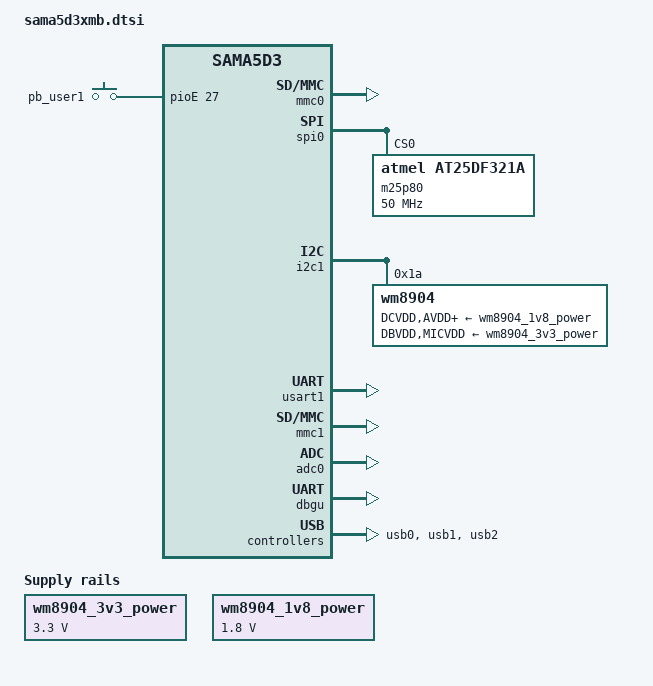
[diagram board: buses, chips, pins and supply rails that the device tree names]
/*
 * sama5d3xmb.dts - Device Tree file for SAMA5D3x mother board
 *
 *  Copyright (C) 2013 Atmel,
 *                2013 Ludovic Desroches <ludovic.desroches@atmel.com>
 *
 * Licensed under GPLv2 or later.
 */
#include "sama5d3xcm.dtsi"

/ {
	compatible = "atmel,sama5d3xmb", "atmel,sama5d3xcm", "atmel,sama5d3", "atmel,sama5";

	ahb {
		apb {
			mmc0: mmc@f0000000 {
				pinctrl-names = "default", "sleep";
				pinctrl-0 = <&pinctrl_mmc0_clk_cmd_dat0 &pinctrl_mmc0_dat1_3 &pinctrl_mmc0_cd>;
				pinctrl-1 = <&pinctrl_mmc0_clk_cmd_dat0_sleep &pinctrl_mmc0_dat1_3_sleep &pinctrl_mmc0_dat4_7_sleep>;
				status = "okay";
				slot@0 {
					reg = <0>;
					bus-width = <4>;
					cd-gpios = <&pioD 17 GPIO_ACTIVE_HIGH>;
				};
			};

			can0: can@f000c000 {
				pinctrl-names = "default", "sleep";
				pinctrl-1 = <&pinctrl_can0_rx_tx_sleep>;
			};

			can1: can@f8010000 {
				pinctrl-names = "default", "sleep";
				pinctrl-1 = <&pinctrl_can1_rx_tx_sleep>;
			};

			spi0: spi@f0004000 {
				pinctrl-names = "default", "sleep";
				pinctrl-1 = <&pinctrl_spi0_sleep>;
				m25p80@0 {
					compatible = "atmel,at25df321a";
					spi-max-frequency = <50000000>;
					reg = <0>;
				};
			};

			ssc0: ssc@f0008000 {
				pinctrl-names = "default", "sleep";
				pinctrl-1 = <&pinctrl_ssc0_tx_sleep &pinctrl_ssc0_rx_sleep>;
			};

			i2c1: i2c@f0018000 {
				wm8904: wm8904@1a {
					compatible = "wm8904";
					reg = <0x1a>;

					DCVDD-supply = <&wm8904_1v8_power>;
					DBVDD-supply = <&wm8904_3v3_power>;
					AVDD-supply = <&wm8904_1v8_power>;
					CPVDD-supply = <&wm8904_1v8_power>;
					MICVDD-supply = <&wm8904_3v3_power>;
				};
			};

			usart1: serial@f0020000 {
				pinctrl-names = "default", "sleep";
				pinctrl-0 = <&pinctrl_usart1 &pinctrl_usart1_rts_cts>;
				pinctrl-1 = <&pinctrl_usart1_sleep &pinctrl_usart1_rts_cts_sleep>;
				status = "okay";
			};

			isi: isi@f0034000 {
				pinctrl-names = "default", "sleep";
				pinctrl-0 = <&pinctrl_isi &pinctrl_isi_pck_as_mck &pinctrl_isi_power &pinctrl_isi_reset>;
				pinctrl-1 = <&pinctrl_isi_sleep &pinctrl_isi_pck_as_mck_sleep &pinctrl_isi_power_sleep &pinctrl_isi_reset_sleep>;
			};

			mmc1: mmc@f8000000 {
				pinctrl-names = "default", "sleep";
				pinctrl-0 = <&pinctrl_mmc1_clk_cmd_dat0 &pinctrl_mmc1_dat1_3 &pinctrl_mmc1_cd>;
				pinctrl-1 = <&pinctrl_mmc1_clk_cmd_dat0_sleep &pinctrl_mmc1_dat1_3_sleep>;
				status = "okay";
				slot@0 {
					reg = <0>;
					bus-width = <4>;
					cd-gpios = <&pioD 18 GPIO_ACTIVE_HIGH>;
				};
			};

			adc0: adc@f8018000 {
				pinctrl-names = "default", "sleep";
				pinctrl-0 = <
					&pinctrl_adc0_adtrg
					&pinctrl_adc0_ad0
					&pinctrl_adc0_ad1
					&pinctrl_adc0_ad2
					&pinctrl_adc0_ad3
					&pinctrl_adc0_ad4
					>;
				pinctrl-1 = <
					&pinctrl_adc0_adtrg_sleep
					&pinctrl_adc0_ad0_sleep
					&pinctrl_adc0_ad1_sleep
					&pinctrl_adc0_ad2_sleep
					&pinctrl_adc0_ad3_sleep
					&pinctrl_adc0_ad4_sleep
					>;
				status = "okay";
			};

			lcd_bus@f0030000 {
				pinctrl-names = "default", "sleep";
				pinctrl-1 = <&pinctrl_lcd_sleep>;
			};

			macb0: ethernet@f0028000 {
				pinctrl-names = "default", "sleep";
				pinctrl-1 = <&pinctrl_macb0_data_rgmii_sleep &pinctrl_macb0_signal_rgmii_sleep>;
			};

			macb1: ethernet@f802c000 {
				phy-mode = "rmii";
				pinctrl-names = "default", "sleep";
				pinctrl-1 = <&pinctrl_macb1_rmii_sleep>;
			};

			pinctrl@fffff200 {
				/* shared pinctrl settings */
				adc0 {
					pinctrl_adc0_adtrg_sleep: adc0_adtrg_1 {
						atmel,pins =
							<AT91_PIOD 19 AT91_PERIPH_GPIO AT91_PINCTRL_OUTPUT0>;	/* PD19 GPIO output 0 */
					};
					pinctrl_adc0_ad0_sleep: adc0_ad0_1 {
						atmel,pins =
							<AT91_PIOD 20 AT91_PERIPH_GPIO AT91_PINCTRL_OUTPUT0>;	/* PD20 GPIO output 0 */
					};
					pinctrl_adc0_ad1_sleep: adc0_ad1_1 {
						atmel,pins =
							<AT91_PIOD 21 AT91_PERIPH_GPIO AT91_PINCTRL_OUTPUT0>;	/* PD21 GPIO output 0 */
					};
					pinctrl_adc0_ad2_sleep: adc0_ad2_1 {
						atmel,pins =
							<AT91_PIOD 22 AT91_PERIPH_GPIO AT91_PINCTRL_OUTPUT0>;	/* PD22 GPIO output 0 */
					};
					pinctrl_adc0_ad3_sleep: adc0_ad3_1 {
						atmel,pins =
							<AT91_PIOD 23 AT91_PERIPH_GPIO AT91_PINCTRL_OUTPUT0>;	/* PD23 GPIO output 0 */
					};
					pinctrl_adc0_ad4_sleep: adc0_ad4_1 {
						atmel,pins =
							<AT91_PIOD 24 AT91_PERIPH_GPIO AT91_PINCTRL_OUTPUT0>;	/* PD24 GPIO output 0 */
					};
				};

				can0 {
					pinctrl_can0_rx_tx_sleep: can0_rx_tx-1 {
						atmel,pins =
							<AT91_PIOD 14 AT91_PERIPH_GPIO AT91_PINCTRL_OUTPUT0	/* PD14 GPIO output 0 */
							 AT91_PIOD 15 AT91_PERIPH_GPIO AT91_PINCTRL_OUTPUT0>;	/* PD15 GPIO output 0 */
					};
				};

				can1 {
					pinctrl_can1_rx_tx_sleep: can1_rx_tx-1 {
						atmel,pins =
							<AT91_PIOB 14 AT91_PERIPH_GPIO AT91_PINCTRL_OUTPUT0	/* PB14 GPIO output 0 */
							 AT91_PIOB 15 AT91_PERIPH_GPIO AT91_PINCTRL_OUTPUT0>;	/* PB15 GPIO output 0 */
					};
				};

				mmc0 {
					pinctrl_mmc0_clk_cmd_dat0_sleep: mmc0_clk_cmd_dat0_1 {
						atmel,pins =
							<AT91_PIOD 9 AT91_PERIPH_GPIO AT91_PINCTRL_OUTPUT0	/* PD9 GPIO output 0 */
							 AT91_PIOD 0 AT91_PERIPH_GPIO AT91_PINCTRL_PULL_UP	/* PD0 GPIO Input with pullup */
							 AT91_PIOD 1 AT91_PERIPH_GPIO AT91_PINCTRL_PULL_UP>;	/* PD1 GPIO Input with pullup */
					};
					pinctrl_mmc0_dat1_3_sleep: mmc0_dat1_3_1 {
						atmel,pins =
							<AT91_PIOD 2 AT91_PERIPH_GPIO AT91_PINCTRL_PULL_UP	/* PD2 GPIO Input with pullup */
							 AT91_PIOD 3 AT91_PERIPH_GPIO AT91_PINCTRL_PULL_UP	/* PD3 GPIO Input with pullup */
							 AT91_PIOD 4 AT91_PERIPH_GPIO AT91_PINCTRL_PULL_UP>;	/* PD4 GPIO Input with pullup */
					};
					pinctrl_mmc0_dat4_7_sleep: mmc0_dat4_7_1 {
						atmel,pins =
							<AT91_PIOD 5 AT91_PERIPH_GPIO AT91_PINCTRL_PULL_UP	/* PD5 GPIO Input with pullup */
							 AT91_PIOD 6 AT91_PERIPH_GPIO AT91_PINCTRL_PULL_UP	/* PD6 GPIO Input with pullup */
							 AT91_PIOD 7 AT91_PERIPH_GPIO AT91_PINCTRL_PULL_UP	/* PD7 GPIO Input with pullup */
							 AT91_PIOD 8 AT91_PERIPH_GPIO AT91_PINCTRL_PULL_UP>;	/* PD8 GPIO Input with pullup */
					};
				};

				mmc1 {
					pinctrl_mmc1_clk_cmd_dat0_sleep: mmc1_clk_cmd_dat0_1 {
						atmel,pins =
							<AT91_PIOB 24 AT91_PERIPH_GPIO AT91_PINCTRL_OUTPUT0	/* PB24 GPIO output 0 */
							 AT91_PIOB 19 AT91_PERIPH_GPIO AT91_PINCTRL_PULL_UP	/* PB19 GPIO Input with pullup */
							 AT91_PIOB 20 AT91_PERIPH_GPIO AT91_PINCTRL_PULL_UP>;	/* PB20 GPIO Input with pullup */
					};
					pinctrl_mmc1_dat1_3_sleep: mmc1_dat1_3_1 {
						atmel,pins =
							<AT91_PIOB 21 AT91_PERIPH_GPIO AT91_PINCTRL_PULL_UP	/* PB21 GPIO Input with pullup */
							 AT91_PIOB 22 AT91_PERIPH_GPIO AT91_PINCTRL_PULL_UP	/* PB22 GPIO Input with pullup */
							 AT91_PIOB 23 AT91_PERIPH_GPIO AT91_PINCTRL_PULL_UP>;	/* PB23 GPIO Input with pullup */
					};
				};

				i2c0 {
					pinctrl_i2c0_sleep: i2c0-1 {
						atmel,pins =
							<AT91_PIOA 30 AT91_PERIPH_GPIO AT91_PINCTRL_OUTPUT1	/* PA30 GPIO output 1 */
							 AT91_PIOA 31 AT91_PERIPH_GPIO AT91_PINCTRL_OUTPUT1>;	/* PA31 GPIO output 1 */
					};
				};

				spi0 {
					pinctrl_spi0_sleep: spi0-1 {
						atmel,pins =
							<AT91_PIOD 10 AT91_PERIPH_GPIO AT91_PINCTRL_OUTPUT0	/* PD10 GPIO output 0 */
							 AT91_PIOD 11 AT91_PERIPH_GPIO AT91_PINCTRL_OUTPUT0	/* PD11 GPIO output 0 */
							 AT91_PIOD 12 AT91_PERIPH_GPIO AT91_PINCTRL_OUTPUT0>;	/* PD12 GPIO output 0 */
					};
				};

				ssc0 {
					pinctrl_ssc0_tx_sleep: ssc0_tx-1 {
						atmel,pins =
							<AT91_PIOC 16 AT91_PERIPH_GPIO AT91_PINCTRL_OUTPUT0	/* PC16 GPIO output 0 */
							 AT91_PIOC 17 AT91_PERIPH_GPIO AT91_PINCTRL_OUTPUT0	/* PC17 GPIO output 0 */
							 AT91_PIOC 18 AT91_PERIPH_GPIO AT91_PINCTRL_OUTPUT0>;	/* PC18 GPIO output 0 */
					};

					pinctrl_ssc0_rx_sleep: ssc0_rx-1 {
						atmel,pins =
							<AT91_PIOC 19 AT91_PERIPH_GPIO AT91_PINCTRL_NONE	/* PC19 GPIO Input */
							 AT91_PIOC 20 AT91_PERIPH_GPIO AT91_PINCTRL_NONE	/* PC20 GPIO Input */
							 AT91_PIOC 21 AT91_PERIPH_GPIO AT91_PINCTRL_NONE>;	/* PC21 GPIO Input */
					};
				};

				isi {
					pinctrl_isi_sleep: isi-1 {
						atmel,pins =
							<AT91_PIOA 16 AT91_PERIPH_GPIO AT91_PINCTRL_PULL_UP	/* PA16 GPIO Input with pullup */
							 AT91_PIOA 17 AT91_PERIPH_GPIO AT91_PINCTRL_PULL_UP	/* PA17 GPIO Input with pullup */
							 AT91_PIOA 18 AT91_PERIPH_GPIO AT91_PINCTRL_PULL_UP	/* PA18 GPIO Input with pullup */
							 AT91_PIOA 19 AT91_PERIPH_GPIO AT91_PINCTRL_PULL_UP	/* PA19 GPIO Input with pullup */
							 AT91_PIOA 20 AT91_PERIPH_GPIO AT91_PINCTRL_PULL_UP	/* PA20 GPIO Input with pullup */
							 AT91_PIOA 21 AT91_PERIPH_GPIO AT91_PINCTRL_PULL_UP	/* PA21 GPIO Input with pullup */
							 AT91_PIOA 22 AT91_PERIPH_GPIO AT91_PINCTRL_PULL_UP	/* PA22 GPIO Input with pullup */
							 AT91_PIOA 23 AT91_PERIPH_GPIO AT91_PINCTRL_PULL_UP	/* PA23 GPIO Input with pullup */
							 AT91_PIOC 30 AT91_PERIPH_GPIO AT91_PINCTRL_OUTPUT0	/* PC30 GPIO output 0 */
							 AT91_PIOA 31 AT91_PERIPH_GPIO AT91_PINCTRL_OUTPUT1	/* PA31 GPIO output 1 */
							 AT91_PIOA 30 AT91_PERIPH_GPIO AT91_PINCTRL_OUTPUT1	/* PA30 GPIO output 1 */
							 AT91_PIOC 29 AT91_PERIPH_GPIO AT91_PINCTRL_NONE	/* PC29 GPIO Input */
							 AT91_PIOC 28 AT91_PERIPH_GPIO AT91_PINCTRL_OUTPUT0>;	/* PC28 GPIO output 0 */
					};
					pinctrl_isi_pck_as_mck_sleep: isi_pck_as_mck-1 {
						atmel,pins =
							<AT91_PIOD 31 AT91_PERIPH_GPIO AT91_PINCTRL_OUTPUT0>;	/* PD31 periph B ISI_MCK */
					};
				};

				usart1 {
					pinctrl_usart1_sleep: usart1-1 {
						atmel,pins =
							<AT91_PIOB 28 AT91_PERIPH_GPIO AT91_PINCTRL_OUTPUT0	/* PB28 GPIO output 0 */
							 AT91_PIOB 29 AT91_PERIPH_GPIO AT91_PINCTRL_OUTPUT0>;	/* PB29 GPIO output 0 */
					};

					pinctrl_usart1_rts_cts_sleep: usart1_rts_cts-1 {
						atmel,pins =
							<AT91_PIOB 26 AT91_PERIPH_GPIO AT91_PINCTRL_OUTPUT0	/* PB26 GPIO output 0 */
							 AT91_PIOB 27 AT91_PERIPH_GPIO AT91_PINCTRL_OUTPUT0>;	/* PB27 GPIO output 0 */
					};
				};

				lcd {
					pinctrl_lcd_sleep: lcd-1 {
						atmel,pins =
							<AT91_PIOA 24 AT91_PERIPH_GPIO AT91_PINCTRL_OUTPUT0	/* PA24 GPIO output 0 */
							 AT91_PIOA 26 AT91_PERIPH_GPIO AT91_PINCTRL_OUTPUT0	/* PA26 GPIO output 0 */
							 AT91_PIOA 27 AT91_PERIPH_GPIO AT91_PINCTRL_OUTPUT0	/* PA27 GPIO output 0 */
							 AT91_PIOA 25 AT91_PERIPH_GPIO AT91_PINCTRL_OUTPUT0	/* PA25 GPIO output 0 */
							 AT91_PIOA 29 AT91_PERIPH_GPIO AT91_PINCTRL_OUTPUT0	/* PA29 GPIO output 0*/
							 AT91_PIOA 28 AT91_PERIPH_GPIO AT91_PINCTRL_OUTPUT0	/* PA28 GPIO output 0 */
							 AT91_PIOA 0 AT91_PERIPH_GPIO AT91_PINCTRL_OUTPUT0	/* PA0 GPIO output 0 */
							 AT91_PIOA 1 AT91_PERIPH_GPIO AT91_PINCTRL_OUTPUT0	/* PA1 GPIO output 0 */
							 AT91_PIOA 2 AT91_PERIPH_GPIO AT91_PINCTRL_OUTPUT0	/* PA2 GPIO output 0 */
							 AT91_PIOA 3 AT91_PERIPH_GPIO AT91_PINCTRL_OUTPUT0	/* PA3 GPIO output 0 */
							 AT91_PIOA 4 AT91_PERIPH_GPIO AT91_PINCTRL_OUTPUT0	/* PA4 GPIO output 0 */
							 AT91_PIOA 5 AT91_PERIPH_GPIO AT91_PINCTRL_OUTPUT0	/* PA5 GPIO output 0 */
							 AT91_PIOA 6 AT91_PERIPH_GPIO AT91_PINCTRL_OUTPUT0	/* PA6 GPIO output 0 */
							 AT91_PIOA 7 AT91_PERIPH_GPIO AT91_PINCTRL_OUTPUT0	/* PA7 GPIO output 0 */
							 AT91_PIOA 8 AT91_PERIPH_GPIO AT91_PINCTRL_OUTPUT0	/* PA8 GPIO output 0 */
							 AT91_PIOA 9 AT91_PERIPH_GPIO AT91_PINCTRL_OUTPUT0	/* PA9 GPIO output 0 */
							 AT91_PIOA 10 AT91_PERIPH_GPIO AT91_PINCTRL_OUTPUT0	/* PA10 GPIO output 0 */
							 AT91_PIOA 11 AT91_PERIPH_GPIO AT91_PINCTRL_OUTPUT0	/* PA11 GPIO output 0 */
							 AT91_PIOA 12 AT91_PERIPH_GPIO AT91_PINCTRL_OUTPUT0	/* PA12 GPIO output 0 */
							 AT91_PIOA 13 AT91_PERIPH_GPIO AT91_PINCTRL_OUTPUT0	/* PA13 GPIO output 0 */
							 AT91_PIOA 14 AT91_PERIPH_GPIO AT91_PINCTRL_OUTPUT0	/* PA14 GPIO output 0 */
							 AT91_PIOA 15 AT91_PERIPH_GPIO AT91_PINCTRL_OUTPUT0	/* PA15 GPIO output 0 */
							 AT91_PIOC 14 AT91_PERIPH_GPIO AT91_PINCTRL_OUTPUT0	/* PC14 GPIO output 0 */
							 AT91_PIOC 13 AT91_PERIPH_GPIO AT91_PINCTRL_OUTPUT0	/* PC13 GPIO output 0 */
							 AT91_PIOC 12 AT91_PERIPH_GPIO AT91_PINCTRL_OUTPUT0	/* PC12 GPIO output 0 */
							 AT91_PIOC 11 AT91_PERIPH_GPIO AT91_PINCTRL_OUTPUT0	/* PC11 GPIO output 0 */
							 AT91_PIOC 10 AT91_PERIPH_GPIO AT91_PINCTRL_OUTPUT0	/* PC10 GPIO output 0 */
							 AT91_PIOC 15 AT91_PERIPH_GPIO AT91_PINCTRL_OUTPUT0	/* PC15 GPIO output 0 */
							 AT91_PIOE 28 AT91_PERIPH_GPIO AT91_PINCTRL_OUTPUT0>;	/* PE28 PIO output 0 */
					};
				};

				macb0 {
					pinctrl_macb0_data_rgmii_sleep: macb0_data_rgmii_1 {
						atmel,pins =
							<AT91_PIOB 0 AT91_PERIPH_GPIO AT91_PINCTRL_OUTPUT0	/* PB0 GPIO output 0 */
							 AT91_PIOB 1 AT91_PERIPH_GPIO AT91_PINCTRL_OUTPUT0	/* PB1 GPIO output 0 */
							 AT91_PIOB 2 AT91_PERIPH_GPIO AT91_PINCTRL_OUTPUT0	/* PB2 GPIO output 0 */
							 AT91_PIOB 3 AT91_PERIPH_GPIO AT91_PINCTRL_OUTPUT0	/* PB3 GPIO output 0 */
							 AT91_PIOB 4 AT91_PERIPH_GPIO AT91_PINCTRL_NONE		/* PB4 GPIO input default */
							 AT91_PIOB 5 AT91_PERIPH_GPIO AT91_PINCTRL_NONE		/* PB5 GPIO input default */
							 AT91_PIOB 6 AT91_PERIPH_GPIO AT91_PINCTRL_NONE		/* PB6 GPIO input default */
							 AT91_PIOB 7 AT91_PERIPH_GPIO AT91_PINCTRL_NONE>;	/* PB7 GPIO input default */
					};

					pinctrl_macb0_signal_rgmii_sleep: macb0_signal_rgmii_1 {
						atmel,pins =
							<AT91_PIOB 8 AT91_PERIPH_GPIO AT91_PINCTRL_OUTPUT0	/* PB8 GPIO output 0 */
							 AT91_PIOB 9 AT91_PERIPH_GPIO AT91_PINCTRL_OUTPUT0	/* PB9 GPIO output 0 */
							 AT91_PIOB 11 AT91_PERIPH_GPIO AT91_PINCTRL_NONE	/* PB11 GPIO input default */
							 AT91_PIOB 13 AT91_PERIPH_GPIO AT91_PINCTRL_NONE	/* PB13 GPIO input default */
							 AT91_PIOB 16 AT91_PERIPH_GPIO AT91_PINCTRL_OUTPUT0	/* PB16 GPIO output 0 */
							 AT91_PIOB 17 AT91_PERIPH_GPIO AT91_PINCTRL_OUTPUT0	/* PB17 GPIO output 0 */
							 AT91_PIOB 18 AT91_PERIPH_GPIO AT91_PINCTRL_OUTPUT0>;	/* PB18 GPIO output 0 */
					};
				};

				macb1 {
					pinctrl_macb1_rmii_sleep: macb1_rmii-1 {
						atmel,pins =
							<AT91_PIOC 0 AT91_PERIPH_GPIO AT91_PINCTRL_OUTPUT0	/* PC0 GPIO output 0 */
							 AT91_PIOC 1 AT91_PERIPH_GPIO AT91_PINCTRL_OUTPUT0	/* PC1 GPIO output 0 */
							 AT91_PIOC 2 AT91_PERIPH_GPIO AT91_PINCTRL_NONE		/* PC2 GPIO input default */
							 AT91_PIOC 3 AT91_PERIPH_GPIO AT91_PINCTRL_NONE		/* PC3 GPIO input default */
							 AT91_PIOC 4 AT91_PERIPH_GPIO AT91_PINCTRL_OUTPUT0	/* PC4 GPIO output 0 */
							 AT91_PIOC 5 AT91_PERIPH_GPIO AT91_PINCTRL_NONE		/* PC5 GPIO input default */
							 AT91_PIOC 6 AT91_PERIPH_GPIO AT91_PINCTRL_NONE		/* PC6 GPIO input default */
							 AT91_PIOC 7 AT91_PERIPH_GPIO AT91_PINCTRL_NONE		/* PC7 GPIO input default */
							 AT91_PIOC 8 AT91_PERIPH_GPIO AT91_PINCTRL_OUTPUT1	/* PC8 GPIO output 1 */
							 AT91_PIOC 9 AT91_PERIPH_GPIO AT91_PINCTRL_OUTPUT1>;	/* PC9 GPIO output 1 */
					};
				};

				board {
					pinctrl_mmc0_cd: mmc0_cd {
						atmel,pins =
							<AT91_PIOD 17 AT91_PERIPH_GPIO AT91_PINCTRL_PULL_UP_DEGLITCH>; /* PD17 GPIO with pullup deglitch */
					};

					pinctrl_mmc1_cd: mmc1_cd {
						atmel,pins =
							<AT91_PIOD 18 AT91_PERIPH_GPIO AT91_PINCTRL_PULL_UP_DEGLITCH>; /* PD18 GPIO with pullup deglitch */
					};

					pinctrl_pck0_as_audio_mck: pck0_as_audio_mck {
						atmel,pins =
							<AT91_PIOD 30 AT91_PERIPH_B AT91_PINCTRL_NONE>;	/* PD30 periph B */
					};

					pinctrl_isi_reset: isi_reset-0 {
						atmel,pins =
							<AT91_PIOE 24 AT91_PERIPH_GPIO AT91_PINCTRL_NONE>;   /* PE24 gpio */
					};

					pinctrl_isi_reset_sleep: isi_reset-1 {
						atmel,pins =
							<AT91_PIOE 24 AT91_PERIPH_GPIO AT91_PINCTRL_OUTPUT1>;   /* PE24 GPIO output 1 */
					};

					pinctrl_isi_power: isi_power-0 {
						atmel,pins =
							<AT91_PIOE 29 AT91_PERIPH_GPIO AT91_PINCTRL_NONE>; /* PE29 gpio */
					};

					pinctrl_isi_power_sleep: isi_power-1 {
						atmel,pins =
							<AT91_PIOE 29 AT91_PERIPH_GPIO AT91_PINCTRL_OUTPUT1>; /* PE29 GPIO output 1 */
					};

					pinctrl_usba_vbus: usba_vbus {
						atmel,pins =
							<AT91_PIOD 29 AT91_PERIPH_GPIO AT91_PINCTRL_DEGLITCH>; /* PD29 GPIO with deglitch */
					};
				};
			};

			dbgu: serial@ffffee00 {
				status = "okay";
			};

			watchdog@fffffe40 {
				status = "okay";
			};
		};

		usb0: gadget@00500000 {
			atmel,vbus-gpio = <&pioD 29 GPIO_ACTIVE_HIGH>;
			pinctrl-names = "default";
			pinctrl-0 = <&pinctrl_usba_vbus>;
			status = "okay";
		};

		usb1: ohci@00600000 {
			num-ports = <3>;
			atmel,vbus-gpio = <&pioD 25 GPIO_ACTIVE_HIGH
					   &pioD 26 GPIO_ACTIVE_LOW
					   &pioD 27 GPIO_ACTIVE_LOW
					  >;
			status = "okay";
		};

		usb2: ehci@00700000 {
			status = "okay";
		};
	};

	sound {
		compatible = "atmel,asoc-wm8904";
		pinctrl-names = "default";
		pinctrl-0 = <&pinctrl_pck0_as_audio_mck>;

		atmel,model = "wm8904 @ SAMA5D3EK";
		atmel,audio-routing =
			"Headphone Jack", "HPOUTL",
			"Headphone Jack", "HPOUTR",
			"IN2L", "Line In Jack",
			"IN2R", "Line In Jack",
			"Mic", "MICBIAS",
			"IN1L", "Mic";

		atmel,ssc-controller = <&ssc0>;
		atmel,audio-codec = <&wm8904>;
		status = "disabled";
	};

	wm8904_3v3_power: wm8904_3v3_reg {
		compatible = "regulator-fixed";
		regulator-name = "wm8904_3v3";
		regulator-min-microvolt = <3300000>;
		regulator-max-microvolt = <3300000>;
		regulator-always-on;
	};

	wm8904_1v8_power: wm8904_1v8_reg {
		compatible = "regulator-fixed";
		regulator-name = "wm8904_1v8";
		regulator-min-microvolt = <1800000>;
		regulator-max-microvolt = <1800000>;
		regulator-always-on;
	};

	gpio_keys {
		compatible = "gpio-keys";
		#address-cells = <1>;
		#size-cells = <0>;

		pb_user1 {
			label = "pb_user1";
			gpios = <&pioE 27 GPIO_ACTIVE_HIGH>;
			linux,code = <0x100>;
			gpio-key,wakeup;
		};
	};
};
